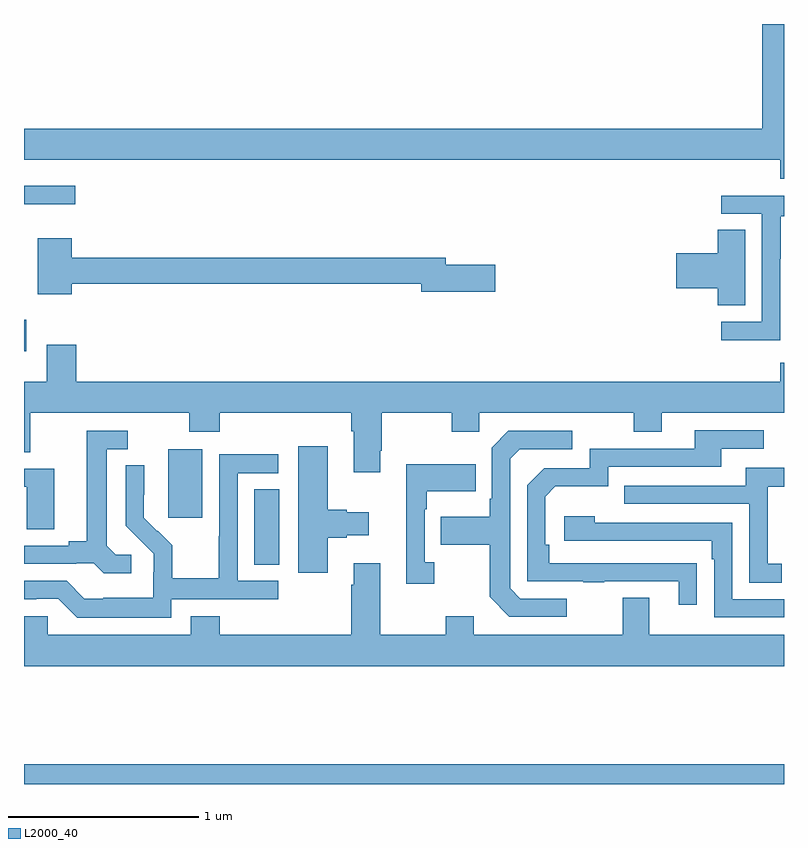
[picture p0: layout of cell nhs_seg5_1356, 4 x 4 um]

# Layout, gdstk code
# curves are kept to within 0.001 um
import gdstk
lib = gdstk.Library(unit=1e-6, precision=1e-09)
def R(c, l, rs):  # rectangles x0, y0, x1, y1
    for r in rs: c.add(gdstk.rectangle(r[:2], r[2:], *l))
def P(c, l, *ps):  # polygons
    for p in ps: c.add(gdstk.Polygon(p, *l))
L2000_40 = (2000, 40)

nhs_seg5_1356 = lib.new_cell('nhs_seg5_1356')
R(nhs_seg5_1356, L2000_40, [(193,862.799,197,862.904), (194.213,863.953,194.344,864.35), (193.76,864.201,193.939,864.562), (193,865.076,193.012,865.242), (193,865.851,193.27,865.948)])
P(nhs_seg5_1356, L2000_40, [(197,866.799),(196.886,866.799),(196.886,866.248),(193,866.248),(193,866.084),(196.979,866.084),(196.979,865.985),(197,865.985)],
  [(196.98,865.564),(196.983,865.564),(196.983,865.788),(197,865.788),(197,865.896),(196.671,865.896),(196.671,865.8),(196.884,865.8),(196.884,865.233),(196.671,865.233),(196.671,865.135),(196.98,865.135)],
  [(196.795,865.715),(196.652,865.715),(196.652,865.592),(196.434,865.592),(196.434,865.409),(196.652,865.409),(196.652,865.318),(196.795,865.318)],
  [(193.252,865.432),(195.092,865.432),(195.092,865.39),(195.481,865.39),(195.481,865.532),(195.22,865.532),(195.22,865.568),(193.252,865.568),(193.252,865.672),(193.073,865.672),(193.073,865.376),(193.252,865.376)],
  [(193,864.544),(193.033,864.544),(193.033,864.752),(193.87,864.752),(193.87,864.653),(194.03,864.653),(194.03,864.752),(194.723,864.752),(194.723,864.656),(194.735,864.656),(194.735,864.441),(194.875,864.441),(194.875,864.553),(194.883,864.553),(194.883,864.752),(195.25,864.752),(195.25,864.653),(195.396,864.653),(195.396,864.752),(196.21,864.752),(196.21,864.653),(196.357,864.653),(196.357,864.752),(197,864.752),(197,865.015),(196.979,865.015),(196.979,864.916),(193.274,864.916),(193.274,865.111),(193.121,865.111),(193.121,864.916),(193,864.916)],
  [(196.541,863.96),(195.764,863.961),(195.764,864.058),(195.744,864.058),(195.744,864.312),(195.797,864.365),(196.074,864.365),(196.074,864.468),(196.669,864.468),(196.669,864.564),(196.894,864.564),(196.894,864.66),(196.529,864.66),(196.529,864.564),(195.978,864.564),(195.978,864.462),(195.738,864.462),(195.648,864.372),(195.648,863.865),(195.943,863.865),(195.943,863.86),(196.055,863.86),(196.055,863.865),(196.445,863.865),(196.445,863.742),(196.541,863.742)],
  [(193.564,864.006),(193.482,864.006),(193.435,864.053),(193.435,864.561),(193.546,864.561),(193.546,864.657),(193.331,864.657),(193.331,864.077),(193.235,864.077),(193.235,864.054),(193,864.054),(193,863.958),(193.274,863.958),(193.274,863.961),(193.368,863.961),(193.42,863.909),(193.564,863.909)],
  [(195.856,863.775),(195.612,863.775),(195.558,863.829),(195.558,864.51),(195.609,864.561),(195.886,864.561),(195.886,864.657),(195.549,864.657),(195.462,864.57),(195.462,864.301),(195.45,864.301),(195.45,864.205),(195.193,864.205),(195.193,864.058),(195.45,864.058),(195.45,863.785),(195.555,863.679),(195.856,863.679)],
  [(194.599,864.095),(194.699,864.095),(194.699,864.107),(194.815,864.107),(194.815,864.229),(194.699,864.229),(194.699,864.242),(194.599,864.242),(194.599,864.577),(194.444,864.577),(194.444,863.91),(194.599,863.91)],
  [(193.776,863.772),(194.338,863.772),(194.338,863.868),(194.124,863.868),(194.124,864.435),(194.338,864.435),(194.338,864.534),(194.028,864.534),(194.028,864.104),(194.026,864.104),(194.026,863.881),(193.781,863.881),(193.781,864.055),(193.704,864.132),(193.701,864.129),(193.631,864.2),(193.632,864.476),(193.536,864.476),(193.536,864.158),(193.682,864.01),(193.682,863.913),(193.68,863.913),(193.68,863.779),(193.417,863.779),(193.417,863.775),(193.317,863.775),(193.224,863.868),(193,863.868),(193,863.772),(193.064,863.772),(193.064,863.775),(193.179,863.775),(193.279,863.675),(193.776,863.675)],
  [(195.16,863.966),(195.108,863.966),(195.108,864.245),(195.121,864.245),(195.121,864.341),(195.377,864.341),(195.377,864.481),(195.011,864.481),(195.011,863.853),(195.16,863.853)],
  [(196.987,863.958),(196.914,863.958),(196.914,864.363),(197,864.363),(197,864.463),(196.799,864.463),(196.799,864.369),(196.159,864.369),(196.159,864.273),(196.818,864.273),(196.818,863.857),(196.987,863.857)],
  [(193.159,864.459),(193,864.459),(193,864.363),(193.014,864.363),(193.014,864.139),(193.159,864.139)],
  [(197,863.772),(196.728,863.772),(196.728,864.174),(196.004,864.174),(196.004,864.208),(195.843,864.208),(195.843,864.078),(196.619,864.078),(196.619,863.981),(196.632,863.981),(196.632,863.676),(197,863.676)],
  [(197,863.584),(196.291,863.584),(196.291,863.779),(196.151,863.779),(196.151,863.584),(195.367,863.584),(195.367,863.683),(195.22,863.683),(195.22,863.584),(194.875,863.584),(194.875,863.962),(194.735,863.962),(194.735,863.849),(194.723,863.849),(194.723,863.584),(194.03,863.584),(194.03,863.683),(193.877,863.683),(193.877,863.584),(193.125,863.584),(193.125,863.682),(193,863.682),(193,863.42),(197,863.42)])

lib.write_gds('nhs_seg5_1356.gds')
